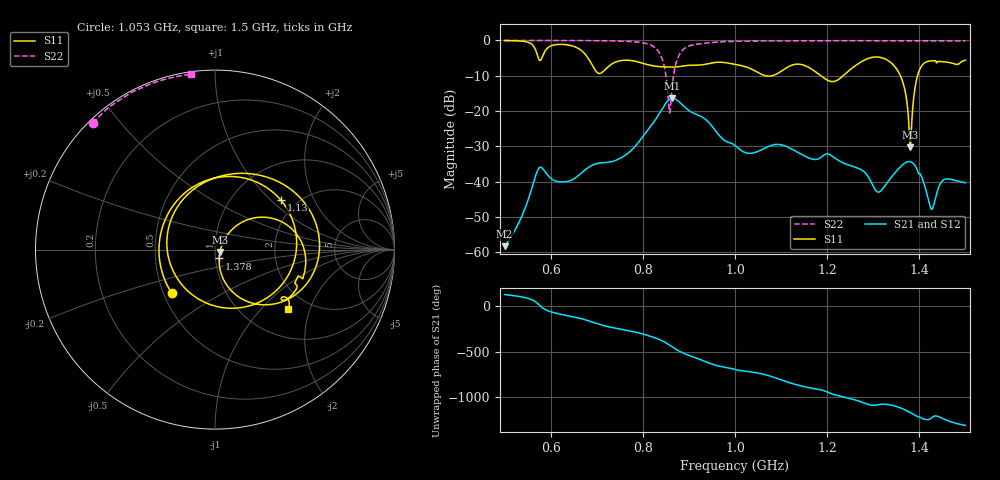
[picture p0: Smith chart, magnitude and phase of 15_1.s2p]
! TOUCHSTONE file generated by CST MICROWAVE STUDIO
! Date and time: Sat Nov 14 20:36:19 2020
! Project name: Scenario_1_Planar_Body_Tissue_Out_of_Line_v2.cst
! Parameters = {dy1=103.8; L_HA=400; Ltissue=700; MT=2.54; Rad_Dielectric=30; Rad_Lower=7.3; Rad_Upper=30; Wtissue=700; a_HA=580; a_WG=246; b_HA=500; b_WG=121; c_HA=0; c_WG=187; d_feed=85; dx1=173; h_feed=15; h_lower=18; h_upper=40; hfat=3; hgap=25; hmuscle=50; hskin=1.5}
! Header version: 2018
! Port assignment regex: !\s*Touchstone port\s*([0-9]+)\s*=\s*(CST MWS port|CST DS port)\s*([0-9]+|Zmin|Zmax)\s*\(\"(.*)\"\)(\s*mode\s*([0-9]+))?.*
! Touchstone port assignment:
! Touchstone port 1 = CST MWS port 1 ("")
! Touchstone port 2 = CST MWS port 2 ("")
# GHz S DB R 50
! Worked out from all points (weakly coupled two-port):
!   1003 points, 500 MHz to 1.5 GHz, reference 50 ohm
!   highest |S21| = -16.40 dB at 864 MHz (marker M1); lowest = -58.2 dB at 500 MHz (marker M2)
!   lowest |S11| = -30.2 dB at 1.38 GHz (marker M3), VSWR 1.06, Z = 52.8 - j1.47 ohm
!   |S11| at or under -10 dB: 1.066 GHz to 1.08 GHz (14.38 MHz wide, 1.34 % of centre); 1.186 GHz to 1.235 GHz (48.27 MHz wide, 3.99 % of centre); 1.359 GHz to 1.396 GHz (37.14 MHz wide, 2.7 % of centre)
!   |S22| runs from -20.5 to 0.0 dB; largest |S21 - S12| = 2.8e-05
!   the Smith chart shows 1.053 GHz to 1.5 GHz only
!   S11 on the Smith chart (normalised r, x): 1.053 GHz: 0.55, -0.30; 1.13 GHz: 1.66, +1.16; 1.378 GHz: 1.04, -0.10; 1.5 GHz: 1.57, -1.44
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0.5  -0.04 -121.7  -58.23 130.1  -58.23 130.1  -0.01 151.1
0.575  -5.48 -163.2  -36.06 15.0  -36.06 15.0  -0.02 146.0
0.628  -1.14 172.0  -40.03 -95.2  -40.03 -95.2  -0.03 141.9
0.667  -2.90 109.6  -37.47 -137.3  -37.47 -137.3  -0.05 138.4
0.693  -7.68 24.0  -35.16 -178.4  -35.16 -178.4  -0.06 135.7
0.718  -8.29 -97.1  -34.57 143.4  -34.57 143.4  -0.09 132.6
0.758  -5.62 165.6  -32.81 100.7  -32.81 100.7  -0.20 125.9
0.834  -7.38 20.3  -21.08 -3.2  -21.08 -3.2  -3.13 83.9
0.864  -7.53 -58.1  -16.40 -89.7  -16.40 -89.7  -12.59 -125.1
0.905  -7.03 -173.6  -20.25 169.2  -20.25 169.2  -1.38 164.0
0.945  -6.51 88.7  -23.49 90.2  -23.49 90.2  -0.66 150.2
1  -6.77 -25.9  -29.73 22.0  -29.73 22.0  -0.24 140.3
1.053  -9.33 -135.0  -31.23 -20.2  -31.23 -20.2  -0.17 134.0
1.13  -6.77 36.9  -31.25 -141.5  -31.25 -141.5  -0.10 127.2
1.167  -8.18 -45.9  -33.57 174.7  -33.57 174.7  -0.09 124.1
1.218  -11.50 -179.3  -33.41 100.9  -33.41 100.9  -0.09 120.3
1.263  -6.98 71.7  -35.98 42.4  -35.98 42.4  -0.08 116.9
1.334  -5.86 -30.3  -39.60 -6.8  -39.60 -6.8  -0.09 111.6
1.378  -25.29 -64.7  -34.29 -87.9  -34.28 -87.9  -0.09 108.1
1.38  -30.25 -26.9  -34.32 -93.5  -34.32 -93.5  -0.09 108.0
1.407  -6.86 12.8  -39.33 -160.0  -39.33 -160.0  -0.10 105.8
1.5  -5.60 -39.1  -40.30 123.8  -40.30 123.8  -0.12 98.0
